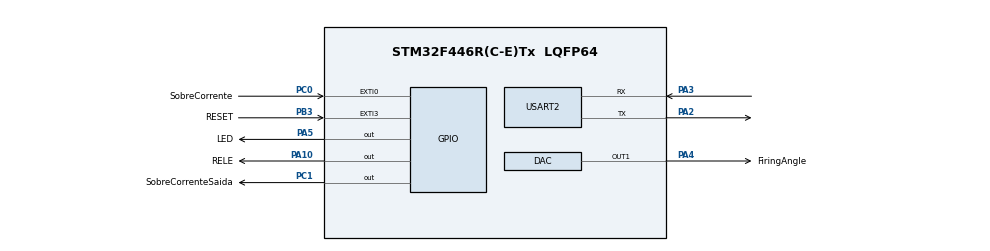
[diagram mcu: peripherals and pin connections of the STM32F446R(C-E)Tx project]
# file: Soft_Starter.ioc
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DAC.DAC_Trigger=DAC_TRIGGER_NONE
Mcu.Family=STM32F4
Mcu.Name=STM32F446R(C-E)Tx
Mcu.Package=LQFP64
NVIC.EXTI0_IRQn=true\:1\:0\:true\:false\:true\:true\:true\:true
NVIC.EXTI3_IRQn=true\:1\:0\:true\:false\:true\:true\:true\:true
NVIC.PriorityGroup=NVIC_PRIORITYGROUP_4
NVIC.TIM2_IRQn=true\:0\:0\:false\:false\:true\:true\:true\:true
NVIC.TIM3_IRQn=true\:0\:0\:false\:false\:true\:true\:true\:true
PA10.GPIO_Label=RELE
PA10.Signal=GPIO_Output
PA2.Mode=Asynchronous
PA2.Signal=USART2_TX
PA3.Mode=Asynchronous
PA3.Signal=USART2_RX
PA4.GPIO_Label=FiringAngle
PA4.Signal=COMP_DAC1_group
PA5.GPIO_Label=LED
PA5.Signal=GPIO_Output
PB3.GPIO_Label=RESET
PB3.GPIO_ModeDefaultEXTI=GPIO_MODE_IT_FALLING
PB3.Signal=GPXTI3
PC0.GPIO_Label=SobreCorrente
PC0.GPIO_ModeDefaultEXTI=GPIO_MODE_IT_RISING_FALLING
PC0.Signal=GPXTI0
PC1.GPIO_Label=SobreCorrenteSaida
PC1.PinState=GPIO_PIN_RESET
PC1.Signal=GPIO_Output
ProjectManager.HeapSize=0x200
ProjectManager.StackSize=0x400
ProjectManager.TargetToolchain=STM32CubeIDE
RCC.CortexFreq_Value=16000000
RCC.USBFreq_Value=96000000
RCC.VCOOutputFreq_Value=192000000
SH.COMP_DAC1_group.0=DAC_OUT1,DAC_OUT1
TIM2.Period=1
TIM2.Prescaler=99
TIM3.Period=999
TIM3.Prescaler=159
USART2.VirtualMode=VM_ASYNC
VP_TIM2_VS_ClockSourceINT.Mode=Internal
VP_TIM3_VS_ClockSourceINT.Mode=Internal
board=custom

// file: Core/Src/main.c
/* USER CODE BEGIN Header */
/**
  ******************************************************************************
  * @file           : main.c
  * @brief          : Main program body
  ******************************************************************************
  * @attention
  *
  * Copyright (c) 2022 STMicroelectronics.
  * All rights reserved.
  *
  * This software is licensed under terms that can be found in the LICENSE file
  * in the root directory of this software component.
  * If no LICENSE file comes with this software, it is provided AS-IS.
  *
  ******************************************************************************
  */
/* USER CODE END Header */
#include "main.h"

/* USER CODE BEGIN Includes */
#include "serialio.h"
#include <stdio.h>
#include <math.h>
/* USER CODE END Includes */

DAC_HandleTypeDef hdac;

TIM_HandleTypeDef htim2;
TIM_HandleTypeDef htim3;

UART_HandleTypeDef huart2;

/* USER CODE BEGIN PV */
float TIMER;
float ELAPSED_TIME=0;
_Bool rampa = 0;
_Bool SUBIDA = 0;
_Bool sobreCorrenteNA=0;
_Bool timerContNB_FLAG=0;
int timerContNA=0;
int timerContNB=0;
int timerCont=0;
int tensao = 4095;
int tempo;
/* USER CODE END PV */

void SystemClock_Config(void);
static void MX_GPIO_Init(void);
static void MX_DAC_Init(void);
static void MX_USART2_UART_Init(void);
static void MX_TIM2_Init(void);
static void MX_TIM3_Init(void);

int main(void)
{

  /* MCU Configuration--------------------------------------------------------*/

  /* Reset of all peripherals, Initializes the Flash interface and the Systick. */
  HAL_Init();

  /* Configure the system clock */
  SystemClock_Config();

  /* Initialize all configured peripherals */
  MX_GPIO_Init();
  MX_DAC_Init();
  MX_USART2_UART_Init();
  MX_TIM2_Init();
  MX_TIM3_Init();
  /* USER CODE BEGIN 2 */
  HAL_DAC_Start(&hdac, DAC_CHANNEL_1);
  HAL_DAC_SetValue(&hdac, DAC_CHANNEL_1, DAC_ALIGN_12B_R, tensao);

  HAL_TIM_Base_Start_IT(&htim3);
  /* USER CODE END 2 */

  /* Infinite loop */
  /* USER CODE BEGIN WHILE */
  while (1){
	  ELAPSED_TIME=0;

	  serial_clearscr();
	  serial_puts("Digite o tempo da rampa de ");
	  serial_puts((!SUBIDA)?"subida: " : "descida: ");
	  serial_getd(&tempo);
	  serial_nl(2);

	  rampa = 1;

	  //desligar imediatamente caso esteja na rampa de descida
	  if(SUBIDA) HAL_GPIO_WritePin(RELE_GPIO_Port, RELE_Pin, 0);

	  SUBIDA=!SUBIDA;

	  HAL_TIM_Base_Start_IT(&htim2);

	  while(rampa){}

	  //liga somente após o término da rampa no caso de rampa de subida
	  HAL_GPIO_WritePin(RELE_GPIO_Port, RELE_Pin, SUBIDA);

	  serial_pause();
	  serial_clearscr();
  }
    /* USER CODE END WHILE */

}

void SystemClock_Config(void)
{
  RCC_OscInitTypeDef RCC_OscInitStruct = {0};
  RCC_ClkInitTypeDef RCC_ClkInitStruct = {0};

  /** Configure the main internal regulator output voltage
  */
  __HAL_RCC_PWR_CLK_ENABLE();
  __HAL_PWR_VOLTAGESCALING_CONFIG(PWR_REGULATOR_VOLTAGE_SCALE3);

  /** Initializes the RCC Oscillators according to the specified parameters
  * in the RCC_OscInitTypeDef structure.
  */
  RCC_OscInitStruct.OscillatorType = RCC_OSCILLATORTYPE_HSI;
  RCC_OscInitStruct.HSIState = RCC_HSI_ON;
  RCC_OscInitStruct.HSICalibrationValue = RCC_HSICALIBRATION_DEFAULT;
  RCC_OscInitStruct.PLL.PLLState = RCC_PLL_NONE;
  if (HAL_RCC_OscConfig(&RCC_OscInitStruct) != HAL_OK)
  {
    Error_Handler();
  }

  /** Initializes the CPU, AHB and APB buses clocks
  */
  RCC_ClkInitStruct.ClockType = RCC_CLOCKTYPE_HCLK|RCC_CLOCKTYPE_SYSCLK
                              |RCC_CLOCKTYPE_PCLK1|RCC_CLOCKTYPE_PCLK2;
  RCC_ClkInitStruct.SYSCLKSource = RCC_SYSCLKSOURCE_HSI;
  RCC_ClkInitStruct.AHBCLKDivider = RCC_SYSCLK_DIV1;
  RCC_ClkInitStruct.APB1CLKDivider = RCC_HCLK_DIV1;
  RCC_ClkInitStruct.APB2CLKDivider = RCC_HCLK_DIV1;

  if (HAL_RCC_ClockConfig(&RCC_ClkInitStruct, FLASH_LATENCY_0) != HAL_OK)
  {
    Error_Handler();
  }
}

static void MX_DAC_Init(void)
{

  DAC_ChannelConfTypeDef sConfig = {0};

  /** DAC Initialization
  */
  hdac.Instance = DAC;
  if (HAL_DAC_Init(&hdac) != HAL_OK)
  {
    Error_Handler();
  }

  /** DAC channel OUT1 config
  */
  sConfig.DAC_Trigger = DAC_TRIGGER_NONE;
  sConfig.DAC_OutputBuffer = DAC_OUTPUTBUFFER_ENABLE;
  if (HAL_DAC_ConfigChannel(&hdac, &sConfig, DAC_CHANNEL_1) != HAL_OK)
  {
    Error_Handler();
  }

}

static void MX_TIM2_Init(void)
{

  TIM_ClockConfigTypeDef sClockSourceConfig = {0};
  TIM_MasterConfigTypeDef sMasterConfig = {0};

  htim2.Instance = TIM2;
  htim2.Init.Prescaler = 99;
  htim2.Init.CounterMode = TIM_COUNTERMODE_UP;
  htim2.Init.Period = 1;
  htim2.Init.ClockDivision = TIM_CLOCKDIVISION_DIV1;
  htim2.Init.AutoReloadPreload = TIM_AUTORELOAD_PRELOAD_DISABLE;
  if (HAL_TIM_Base_Init(&htim2) != HAL_OK)
  {
    Error_Handler();
  }
  sClockSourceConfig.ClockSource = TIM_CLOCKSOURCE_INTERNAL;
  if (HAL_TIM_ConfigClockSource(&htim2, &sClockSourceConfig) != HAL_OK)
  {
    Error_Handler();
  }
  sMasterConfig.MasterOutputTrigger = TIM_TRGO_RESET;
  sMasterConfig.MasterSlaveMode = TIM_MASTERSLAVEMODE_DISABLE;
  if (HAL_TIMEx_MasterConfigSynchronization(&htim2, &sMasterConfig) != HAL_OK)
  {
    Error_Handler();
  }

}

static void MX_TIM3_Init(void)
{

  TIM_ClockConfigTypeDef sClockSourceConfig = {0};
  TIM_MasterConfigTypeDef sMasterConfig = {0};

  htim3.Instance = TIM3;
  htim3.Init.Prescaler = 159;
  htim3.Init.CounterMode = TIM_COUNTERMODE_UP;
  htim3.Init.Period = 999;
  htim3.Init.ClockDivision = TIM_CLOCKDIVISION_DIV1;
  htim3.Init.AutoReloadPreload = TIM_AUTORELOAD_PRELOAD_DISABLE;
  if (HAL_TIM_Base_Init(&htim3) != HAL_OK)
  {
    Error_Handler();
  }
  sClockSourceConfig.ClockSource = TIM_CLOCKSOURCE_INTERNAL;
  if (HAL_TIM_ConfigClockSource(&htim3, &sClockSourceConfig) != HAL_OK)
  {
    Error_Handler();
  }
  sMasterConfig.MasterOutputTrigger = TIM_TRGO_RESET;
  sMasterConfig.MasterSlaveMode = TIM_MASTERSLAVEMODE_DISABLE;
  if (HAL_TIMEx_MasterConfigSynchronization(&htim3, &sMasterConfig) != HAL_OK)
  {
    Error_Handler();
  }

}

static void MX_USART2_UART_Init(void)
{

  huart2.Instance = USART2;
  huart2.Init.BaudRate = 115200;
  huart2.Init.WordLength = UART_WORDLENGTH_8B;
  huart2.Init.StopBits = UART_STOPBITS_1;
  huart2.Init.Parity = UART_PARITY_NONE;
  huart2.Init.Mode = UART_MODE_TX_RX;
  huart2.Init.HwFlowCtl = UART_HWCONTROL_NONE;
  huart2.Init.OverSampling = UART_OVERSAMPLING_16;
  if (HAL_UART_Init(&huart2) != HAL_OK)
  {
    Error_Handler();
  }

}

static void MX_GPIO_Init(void)
{
  GPIO_InitTypeDef GPIO_InitStruct = {0};

  /* GPIO Ports Clock Enable */
  __HAL_RCC_GPIOC_CLK_ENABLE();
  __HAL_RCC_GPIOA_CLK_ENABLE();
  __HAL_RCC_GPIOB_CLK_ENABLE();

  /*Configure GPIO pin Output Level */
  HAL_GPIO_WritePin(SobreCorrenteSaida_GPIO_Port, SobreCorrenteSaida_Pin, GPIO_PIN_RESET);

  /*Configure GPIO pin Output Level */
  HAL_GPIO_WritePin(GPIOA, LED_Pin|RELE_Pin, GPIO_PIN_RESET);

  /*Configure GPIO pin : SobreCorrente_Pin */
  GPIO_InitStruct.Pin = SobreCorrente_Pin;
  GPIO_InitStruct.Mode = GPIO_MODE_IT_RISING_FALLING;
  GPIO_InitStruct.Pull = GPIO_NOPULL;
  HAL_GPIO_Init(SobreCorrente_GPIO_Port, &GPIO_InitStruct);

  /*Configure GPIO pin : SobreCorrenteSaida_Pin */
  GPIO_InitStruct.Pin = SobreCorrenteSaida_Pin;
  GPIO_InitStruct.Mode = GPIO_MODE_OUTPUT_PP;
  GPIO_InitStruct.Pull = GPIO_NOPULL;
  GPIO_InitStruct.Speed = GPIO_SPEED_FREQ_LOW;
  HAL_GPIO_Init(SobreCorrenteSaida_GPIO_Port, &GPIO_InitStruct);

  /*Configure GPIO pins : LED_Pin RELE_Pin */
  GPIO_InitStruct.Pin = LED_Pin|RELE_Pin;
  GPIO_InitStruct.Mode = GPIO_MODE_OUTPUT_PP;
  GPIO_InitStruct.Pull = GPIO_NOPULL;
  GPIO_InitStruct.Speed = GPIO_SPEED_FREQ_LOW;
  HAL_GPIO_Init(GPIOA, &GPIO_InitStruct);

  /*Configure GPIO pin : RESET_Pin */
  GPIO_InitStruct.Pin = RESET_Pin;
  GPIO_InitStruct.Mode = GPIO_MODE_IT_FALLING;
  GPIO_InitStruct.Pull = GPIO_NOPULL;
  HAL_GPIO_Init(RESET_GPIO_Port, &GPIO_InitStruct);

  /* EXTI interrupt init*/
  HAL_NVIC_SetPriority(EXTI0_IRQn, 1, 0);
  HAL_NVIC_EnableIRQ(EXTI0_IRQn);

  HAL_NVIC_SetPriority(EXTI3_IRQn, 1, 0);
  HAL_NVIC_EnableIRQ(EXTI3_IRQn);

}

/* USER CODE BEGIN 4 */
void HAL_TIM_PeriodElapsedCallback(TIM_HandleTypeDef *htim){
	if(htim->Instance==TIM2){
		int passo;
		const float clockMhz=16.0;
		if(SUBIDA) passo=100;
		else passo=-100;
		tensao-=passo;

		if(tensao <= 0 || tensao >= 4095){
			HAL_TIM_Base_Stop_IT(&htim2);
			rampa = 0;
			tensao=(tensao <= 0)?0:4095;
			HAL_DAC_SetValue(&hdac, DAC_CHANNEL_1, DAC_ALIGN_12B_R, tensao);
		}
		HAL_DAC_SetValue(&hdac, DAC_CHANNEL_1, DAC_ALIGN_12B_R, tensao);

		if(SUBIDA) TIMER = (sqrt(1-251.4*pow(10.0, -6)*((float)(tensao-passo))+sin(1.58*pow(10.0, -3)*((float)(tensao-passo)))/6.28)*((float)(tempo)) - ELAPSED_TIME);
		else TIMER = (sqrt(1-251.4*pow(10.0, -6)*((float)(4095 - (tensao-passo)))+sin(1.58*pow(10.0, -3)*((float)(4095 - (tensao-passo))))/6.28)*((float)(tempo)) - ELAPSED_TIME);

		TIM2->ARR = (uint32_t)(TIMER*(clockMhz*pow(10.0, 6))/(TIM2->PSC+1))+1;
		if(TIM2->ARR < 500) TIM2->ARR = 500;

		ELAPSED_TIME+=(float)((1+TIM2->ARR)*(1+TIM2->PSC))/(clockMhz*pow(10.0, 6));

		serial_puts("TENSAO: ");
		serial_putd(tensao);
		serial_nl(1);
		serial_puts("ELAPSED_TIME: ");
		serial_putf(ELAPSED_TIME);
		serial_nl(1);
		serial_puts("ARR: ");
		serial_putd(TIM2->ARR);
		serial_nl(2);
	}else{
		timerContNA+=sobreCorrenteNA;
		timerContNB+=!sobreCorrenteNA;
		timerCont+=timerContNB_FLAG;

		if(timerContNA>=20){	//0,2s (20*0,01s)
			  HAL_TIM_Base_Stop_IT(&htim2);

			  tensao=4095;
			  HAL_DAC_SetValue(&hdac, DAC_CHANNEL_1, DAC_ALIGN_12B_R, tensao);
			  HAL_GPIO_WritePin(RELE_GPIO_Port, RELE_Pin, 0);
			  HAL_GPIO_WritePin(SobreCorrenteSaida_GPIO_Port, SobreCorrenteSaida_Pin, 1);
			  HAL_GPIO_WritePin(SobreCorrenteSaida_GPIO_Port, SobreCorrenteSaida_Pin, 0);

			  /*
			  timerContNA=0;
			  rampa = 0;
			  SUBIDA=0;
			  */

			  serial_nl(1);
			  serial_puts("SOBRE CORRENTE! Pressione o botao de reinicializacao para reiniciar o Soft Starter.");
			  serial_nl(1);
			  while(1){}
		}
		if(timerCont>2){	//se o sobre corrente continuar desligado por mais de  0,02s começa a contagem do timerContNB
			sobreCorrenteNA=0;
		}
		if(timerContNB>=10){	//0,1s (10*0,01s)
			timerContNA=0;
		}
	}
}

void HAL_GPIO_EXTI_Callback (uint16_t GPIO_Pin){
	if(GPIO_Pin == SobreCorrente_Pin){
	  if(HAL_GPIO_ReadPin(SobreCorrente_GPIO_Port, SobreCorrente_Pin)){
		  HAL_GPIO_WritePin(LED_GPIO_Port, LED_Pin, 1);
		  timerContNB=0;
		  timerContNB_FLAG=0;
		  timerCont=0;

		  sobreCorrenteNA=1;
	  }else{
		  HAL_GPIO_WritePin(LED_GPIO_Port, LED_Pin, 0);
		  timerContNB_FLAG=1;
	  }
	}else{
		NVIC_SystemReset();
	}
}
/* USER CODE END 4 */

void Error_Handler(void)
{
  __disable_irq();
  while (1)
  {
  }
}
